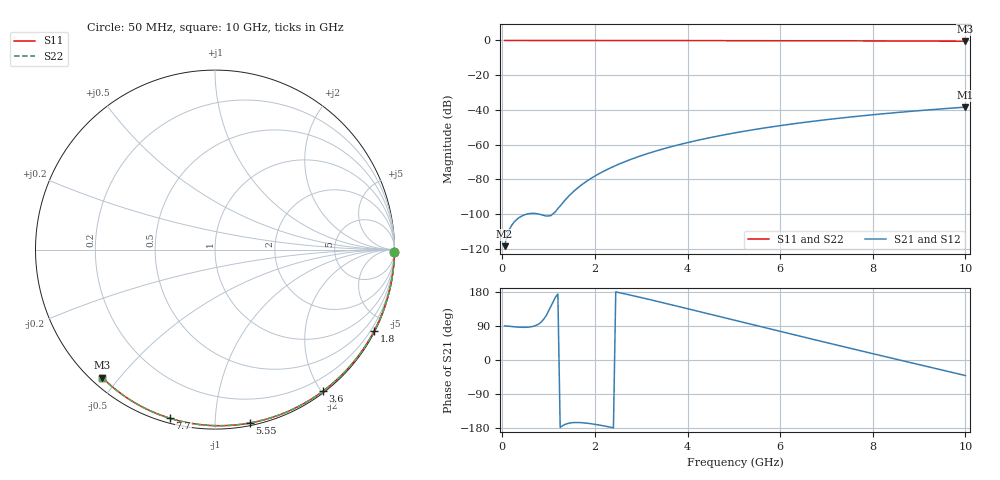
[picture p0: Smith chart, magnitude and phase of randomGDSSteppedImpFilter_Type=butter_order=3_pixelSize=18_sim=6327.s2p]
! freq	dB(S11)	phase(S11)	dB(S12)	phase(S12)
!  dB(S21)	phase(S21)	dB(S22)	phase(S22)
!S-par simulation data
#  GHz  S  DB  R 50
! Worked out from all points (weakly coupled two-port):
!   200 points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, 50 MHz to 10 GHz, reference 50 ohm
!   highest |S21| = -38.45 dB at 10 GHz (marker M1); lowest = -118.6 dB at 50 MHz (marker M2)
!   lowest |S11| = -0.4 dB at 10 GHz (marker M3), VSWR 39.08, Z = 1.54 - j22.6 ohm
!   |S11| at or under -10 dB: nowhere
!   |S22| runs from -0.4 to 0.0 dB; largest |S21 - S12| = 0
!   S11 on the Smith chart (normalised r, x): 50 MHz: open; 1.8 GHz: 0.04, -4.18; 3.6 GHz: 0.02, -2.02; 5.55 GHz: 0.02, -1.22; 7.7 GHz: 0.02, -0.77; 10 GHz: 0.03, -0.45
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0.05  -0.00 -0.8  -118.58 90.0  -118.58 90.0  -0.00 -0.8
0.45  -0.01 -6.8  -100.85 86.2  -100.85 86.2  -0.01 -6.8
0.9  -0.02 -13.6  -100.91 108.7  -100.91 108.7  -0.02 -13.6
1.75  -0.03 -26.2  -82.49 -165.8  -82.49 -165.8  -0.03 -26.2
1.8  -0.03 -26.9  -81.54 -166.4  -81.54 -166.4  -0.03 -26.9
1.9  -0.04 -28.4  -79.78 -167.9  -79.78 -167.9  -0.04 -28.4
2.05  -0.04 -30.6  -77.39 -170.7  -77.39 -170.7  -0.04 -30.6
2.25  -0.04 -33.5  -74.56 -175.2  -74.56 -175.2  -0.04 -33.5
2.45  -0.05 -36.4  -72.07 179.8  -72.07 179.8  -0.05 -36.4
2.65  -0.05 -39.2  -69.84 174.5  -69.84 174.5  -0.05 -39.2
3  -0.06 -44.2  -66.42 164.7  -66.42 164.7  -0.06 -44.2
3.4  -0.07 -49.8  -63.08 153.2  -63.08 153.2  -0.07 -49.8
3.6  -0.07 -52.6  -61.58 147.3  -61.58 147.3  -0.07 -52.6
4.3  -0.09 -62.2  -57.06 126.5  -57.06 126.5  -0.09 -62.2
5.05  -0.11 -72.1  -53.13 104.0  -53.13 104.0  -0.11 -72.1
5.55  -0.13 -78.6  -50.90 89.0  -50.90 89.0  -0.13 -78.6
6.1  -0.15 -85.5  -48.72 72.6  -48.72 72.6  -0.15 -85.5
6.7  -0.18 -93.0  -46.62 54.8  -46.62 54.8  -0.18 -93.0
7.7  -0.24 -104.9  -43.62 25.4  -43.62 25.4  -0.24 -104.9
8.35  -0.29 -112.5  -41.95 6.6  -41.95 6.6  -0.29 -112.5
9.15  -0.36 -121.7  -40.13 -16.5  -40.13 -16.5  -0.36 -121.7
10  -0.44 -131.3  -38.45 -41.0  -38.45 -41.0  -0.44 -131.3
